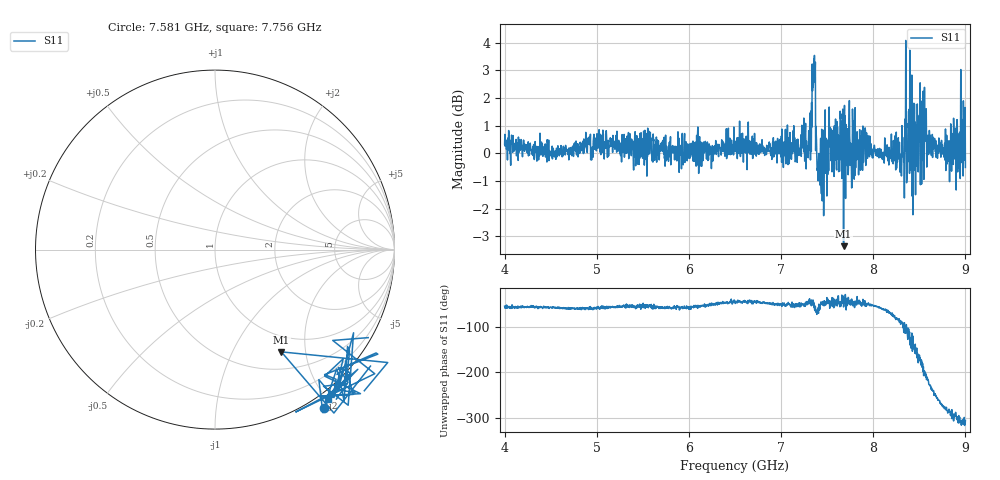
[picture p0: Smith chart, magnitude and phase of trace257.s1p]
! Created with skrf 1.8.0 (http://scikit-rf.org).
# Hz S RI R 50.0
!freq ReS11 ImS11
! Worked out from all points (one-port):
!   1601 points, 4 GHz to 9 GHz, reference 50 ohm
!   lowest |S11| = -3.4 dB at 7.678 GHz (marker M1), VSWR 5.23, Z = 37.3 - j78.9 ohm
!   |S11| at or under -10 dB: nowhere
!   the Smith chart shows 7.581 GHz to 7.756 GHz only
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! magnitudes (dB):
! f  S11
! 4 GHz  0.3
! 4.625 GHz  -0.1
! 5.25 GHz  0.1
! 5.875 GHz  0.1
! 6.5 GHz  0.1
! 7.125 GHz  0.0
! 7.294 GHz  -0.2
! 7.309 GHz  0.2
! 7.347 GHz  2.4
! 7.362 GHz  3.5
! 7.4 GHz  -0.6
! 7.412 GHz  -0.2
! 7.547 GHz  0.2
! 7.609 GHz  0.0
! 7.662 GHz  0.3
! 7.678 GHz  -3.4
! 7.75 GHz  -0.4
! 8.312 GHz  1.0
! 8.334 GHz  -0.1
! 8.35 GHz  0.8
! 8.375 GHz  0.0
! 8.447 GHz  1.8
! 8.497 GHz  0.8
! 8.553 GHz  -0.1
! 8.606 GHz  0.0
! 8.812 GHz  0.5
! 8.972 GHz  1.0
! 9 GHz  -0.5
